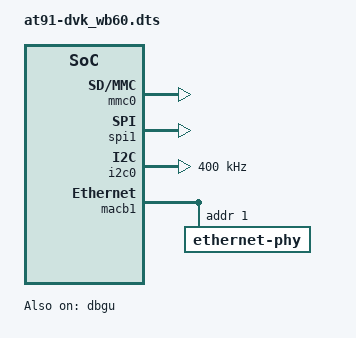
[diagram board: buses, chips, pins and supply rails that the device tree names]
// SPDX-License-Identifier: GPL-2.0
/*
 * at91-dvk_wb60.dts - Device Tree file for the WB60 board
 *
 *  Copyright (C) 2019 Laird Connectivity,
 *		  2019 Boris Krasnovskiy <boris.krasnovskiy@lairdconnect.com>
 *
 * Licensed under GPLv2 or later.
 */

/dts-v1/;

#include "at91-som60.dtsi"
#include "at91-wb60.dtsi"

&pinctrl {
	board {
		pinctrl_mmc0_cd: mmc0_cd {
			atmel,pins =
				<AT91_PIOC 26 AT91_PERIPH_GPIO AT91_PINCTRL_PULL_UP_DEGLITCH>;
		};

		pinctrl_spi1_cs: spi1_cs {
			atmel,pins =
				<AT91_PIOC 25 AT91_PERIPH_A AT91_PINCTRL_NONE>;
		};
	};
};

&mmc0 {
	pinctrl-names = "default";
	pinctrl-0 = <&pinctrl_mmc0_clk_cmd_dat0 &pinctrl_mmc0_dat1_3 &pinctrl_mmc0_cd>;

	status = "okay";

	slot@0 {
		reg = <0>;
		bus-width = <4>;
		cd-gpios = <&pioC 26 GPIO_ACTIVE_LOW>;
	};
};

&spi1 {
	pinctrl-names = "default";
	pinctrl-0 = <&pinctrl_spi1 &pinctrl_spi1_cs>;

	status = "okay";
};

&i2c0 {
	clock-frequency = <400000>;

	status = "okay";
};

&macb1 {
	status = "okay";

	ethernet-phy@1 {
		reg = <1>;
	};
};

&dbgu {
	atmel,use-dma-tx;

	status = "okay";
};
